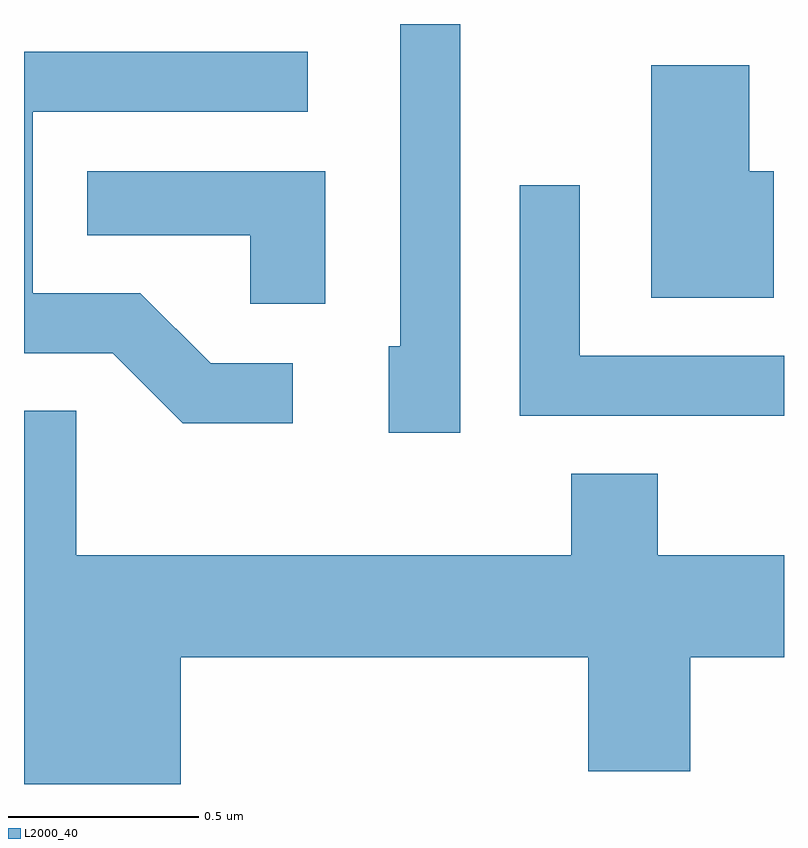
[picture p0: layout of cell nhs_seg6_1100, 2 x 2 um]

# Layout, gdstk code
import gdstk
lib = gdstk.Library(unit=1e-6, precision=1e-09)
def P(c, l, *ps):  # polygons
    for p in ps: c.add(gdstk.Polygon(p, *l))
L2000_40 = (2000, 40)

nhs_seg6_1100 = lib.new_cell('nhs_seg6_1100')
P(nhs_seg6_1100, L2000_40, [(194.759,1536.162),(194.601,1536.162),(194.601,1535.314),(194.571,1535.314),(194.571,1535.086),(194.759,1535.086)],
  [(194.318,1535.269),(194.102,1535.269),(193.917,1535.454),(193.634,1535.454),(193.634,1535.931),(194.358,1535.931),(194.358,1536.089),(193.611,1536.089),(193.611,1535.296),(193.844,1535.296),(194.029,1535.111),(194.318,1535.111)],
  [(195.584,1535.774),(195.519,1535.774),(195.519,1536.054),(195.261,1536.054),(195.261,1535.441),(195.584,1535.441)],
  [(194.404,1535.774),(193.778,1535.774),(193.778,1535.606),(194.206,1535.606),(194.206,1535.426),(194.404,1535.426)],
  [(195.611,1535.289),(195.074,1535.289),(195.074,1535.738),(194.916,1535.738),(194.916,1535.131),(195.611,1535.131)],
  [(194.024,1534.496),(195.096,1534.496),(195.096,1534.196),(195.364,1534.196),(195.364,1534.496),(195.611,1534.496),(195.611,1534.764),(195.279,1534.764),(195.279,1534.979),(195.051,1534.979),(195.051,1534.764),(193.749,1534.764),(193.749,1535.144),(193.611,1535.144),(193.611,1534.162),(194.024,1534.162)])

lib.write_gds('nhs_seg6_1100.gds')
